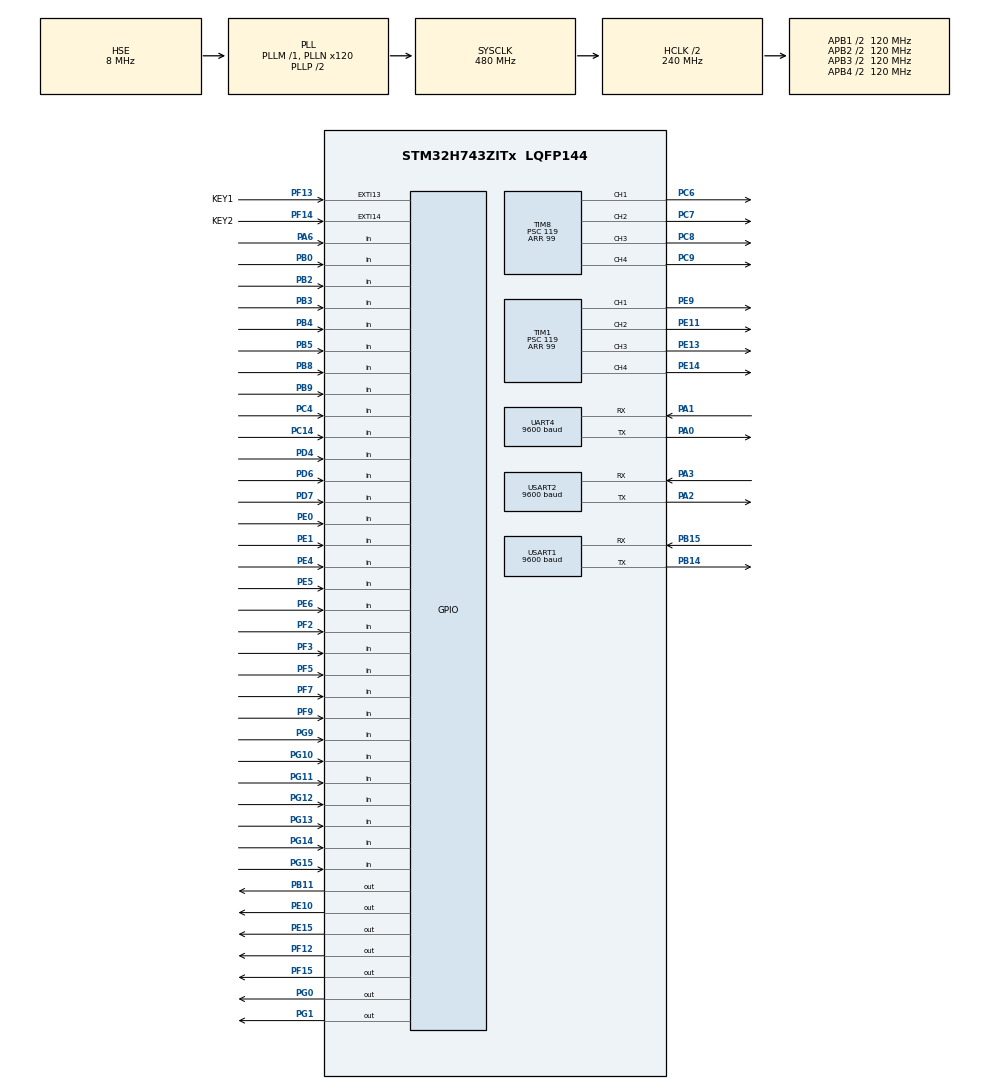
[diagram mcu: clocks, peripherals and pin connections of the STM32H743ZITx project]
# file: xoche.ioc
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Mcu.Family=STM32H7
Mcu.Name=STM32H743ZITx
Mcu.Package=LQFP144
NVIC.EXTI15_10_IRQn=true\:0\:0\:false\:false\:true\:true\:true
NVIC.PriorityGroup=NVIC_PRIORITYGROUP_4
PA0.Mode=Asynchronous
PA0.Signal=UART4_TX
PA1.Mode=Asynchronous
PA1.PinAttribute=Free
PA1.Signal=UART4_RX
PA2.Mode=Asynchronous
PA2.PinAttribute=Free
PA2.Signal=USART2_TX
PA3.Mode=Asynchronous
PA3.PinAttribute=Free
PA3.Signal=USART2_RX
PA6.Signal=GPIO_Input
PB0.Signal=GPIO_Input
PB11.GPIO_PuPd=GPIO_PULLDOWN
PB11.Signal=GPIO_Output
PB14.Mode=Asynchronous
PB14.Signal=USART1_TX
PB15.Mode=Asynchronous
PB15.Signal=USART1_RX
PB2.Signal=GPIO_Input
PB3\ (JTDO/TRACESWO).Signal=GPIO_Input
PB4\ (NJTRST).Signal=GPIO_Input
PB5.Signal=GPIO_Input
PB8.Signal=GPIO_Input
PB9.PinAttribute=Free
PB9.Signal=GPIO_Input
PC14-OSC32_IN\ (OSC32_IN).Signal=GPIO_Input
PC4.Signal=GPIO_Input
PC6.Signal=S_TIM8_CH1
PC7.Signal=S_TIM8_CH2
PC8.Signal=S_TIM8_CH3
PC9.Signal=S_TIM8_CH4
PD4.Signal=GPIO_Input
PD6.Signal=GPIO_Input
PD7.Signal=GPIO_Input
PE0.Signal=GPIO_Input
PE1.Signal=GPIO_Input
PE10.GPIO_PuPd=GPIO_PULLDOWN
PE10.Signal=GPIO_Output
PE11.PinAttribute=Free
PE11.Signal=S_TIM1_CH2
PE13.PinAttribute=Free
PE13.Signal=S_TIM1_CH3
PE14.PinAttribute=Free
PE14.Signal=S_TIM1_CH4
PE15.GPIO_PuPd=GPIO_PULLDOWN
PE15.Signal=GPIO_Output
PE4.Signal=GPIO_Input
PE5.Signal=GPIO_Input
PE6.Signal=GPIO_Input
PE9.PinAttribute=Free
PE9.Signal=S_TIM1_CH1
PF12.GPIO_PuPd=GPIO_PULLUP
PF12.PinAttribute=Free
PF12.PinState=GPIO_PIN_SET
PF12.Signal=GPIO_Output
PF13.GPIO_Label=KEY1
PF13.GPIO_ModeDefaultEXTI=GPIO_MODE_IT_RISING
PF13.GPIO_PuPd=GPIO_PULLDOWN
PF13.Signal=GPXTI13
PF14.GPIO_Label=KEY2
PF14.GPIO_ModeDefaultEXTI=GPIO_MODE_IT_RISING
PF14.GPIO_PuPd=GPIO_PULLDOWN
PF14.Signal=GPXTI14
PF15.GPIO_PuPd=GPIO_PULLUP
PF15.PinAttribute=Free
PF15.PinState=GPIO_PIN_SET
PF15.Signal=GPIO_Output
PF2.Signal=GPIO_Input
PF3.Signal=GPIO_Input
PF5.Signal=GPIO_Input
PF7.Signal=GPIO_Input
PF9.Signal=GPIO_Input
PG0.GPIO_PuPd=GPIO_PULLUP
PG0.PinAttribute=Free
PG0.PinState=GPIO_PIN_SET
PG0.Signal=GPIO_Output
PG1.GPIO_PuPd=GPIO_PULLUP
PG1.PinAttribute=Free
PG1.PinState=GPIO_PIN_SET
PG1.Signal=GPIO_Output
PG10.Signal=GPIO_Input
PG11.Signal=GPIO_Input
PG12.Signal=GPIO_Input
PG13.Signal=GPIO_Input
PG14.Signal=GPIO_Input
PG15.Signal=GPIO_Input
PG9.Signal=GPIO_Input
PH0-OSC_IN\ (PH0).Mode=HSE-External-Oscillator
PH0-OSC_IN\ (PH0).Signal=RCC_OSC_IN
PH1-OSC_OUT\ (PH1).Mode=HSE-External-Oscillator
PH1-OSC_OUT\ (PH1).Signal=RCC_OSC_OUT
ProjectManager.HeapSize=0x200
ProjectManager.StackSize=0x400
ProjectManager.TargetToolchain=STM32CubeIDE
RCC.ADCCLockSelection=RCC_ADCCLKSOURCE_CLKP
RCC.ADCFreq_Value=64000000
RCC.APB1Freq_Value=120000000
RCC.APB2Freq_Value=120000000
RCC.APB3Freq_Value=120000000
RCC.APB4Freq_Value=120000000
RCC.CortexFreq_Value=480000000
RCC.D1PPRE=RCC_APB3_DIV2
RCC.D2PPRE1=RCC_APB1_DIV2
RCC.D2PPRE2=RCC_APB2_DIV2
RCC.D3PPRE=RCC_APB4_DIV2
RCC.DIVM1=1
RCC.DIVN1=120
RCC.EnbaleCSS=true
RCC.HCLKFreq_Value=240000000
RCC.HPRE=RCC_HCLK_DIV2
RCC.HSE_VALUE=8000000
RCC.PLL1_VCI_Range-AdvancedSettings=RCC_PLL1VCIRANGE_3
RCC.PLLFRACN=0
RCC.PLLSourceVirtual=RCC_PLLSOURCE_HSE
RCC.SYSCLKFreq_VALUE=480000000
RCC.SYSCLKSource=RCC_SYSCLKSOURCE_PLLCLK
RCC.USBFreq_Value=480000000
SH.S_TIM1_CH1.0=TIM1_CH1,PWM Generation1 CH1
SH.S_TIM1_CH2.0=TIM1_CH2,PWM Generation2 CH2
SH.S_TIM1_CH3.0=TIM1_CH3,PWM Generation3 CH3
SH.S_TIM1_CH4.0=TIM1_CH4,PWM Generation4 CH4
SH.S_TIM8_CH1.0=TIM8_CH1,PWM Generation1 CH1
SH.S_TIM8_CH2.0=TIM8_CH2,PWM Generation2 CH2
SH.S_TIM8_CH3.0=TIM8_CH3,PWM Generation3 CH3
SH.S_TIM8_CH4.0=TIM8_CH4,PWM Generation4 CH4
TIM1.Channel-PWM\ Generation1\ CH1=TIM_CHANNEL_1
TIM1.Channel-PWM\ Generation2\ CH2=TIM_CHANNEL_2
TIM1.Channel-PWM\ Generation3\ CH3=TIM_CHANNEL_3
TIM1.Channel-PWM\ Generation4\ CH4=TIM_CHANNEL_4
TIM1.Period=99
TIM1.Prescaler=119
TIM8.Channel-PWM\ Generation1\ CH1=TIM_CHANNEL_1
TIM8.Channel-PWM\ Generation2\ CH2=TIM_CHANNEL_2
TIM8.Channel-PWM\ Generation3\ CH3=TIM_CHANNEL_3
TIM8.Channel-PWM\ Generation4\ CH4=TIM_CHANNEL_4
TIM8.Period=99
TIM8.Prescaler=119
UART4.BaudRate=9600
USART1.BaudRate=9600
USART1.VirtualMode-Asynchronous=VM_ASYNC
USART2.BaudRate=9600
USART2.VirtualMode-Asynchronous=VM_ASYNC
VP_TIM1_VS_ClockSourceINT.Mode=Internal
VP_TIM8_VS_ClockSourceINT.Mode=Internal
board=custom

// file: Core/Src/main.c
/* USER CODE BEGIN Header */
/**
  ******************************************************************************
  * @file           : main.c
  * @brief          : Main program body
  ******************************************************************************
  * @attention
  *
  * <h2><center>&copy; Copyright (c) 2021 STMicroelectronics.
  * All rights reserved.</center></h2>
  *
  * This software component is licensed by ST under BSD 3-Clause license,
  * the "License"; You may not use this file except in compliance with the
  * License. You may obtain a copy of the License at:
  *                        opensource.org/licenses/BSD-3-Clause
  *
  ******************************************************************************
  */
/* USER CODE END Header */
#include "main.h"

TIM_HandleTypeDef htim1;
TIM_HandleTypeDef htim8;

UART_HandleTypeDef huart4;
UART_HandleTypeDef huart1;
UART_HandleTypeDef huart2;

void SystemClock_Config(void);
static void MX_GPIO_Init(void);
static void MX_TIM1_Init(void);
static void MX_TIM8_Init(void);
static void MX_USART1_UART_Init(void);
static void MX_USART2_UART_Init(void);
static void MX_UART4_Init(void);
/* USER CODE BEGIN PFP */
int step=1;
int X=0;
int Y=0;
int Z=0;
int turn=0;
int Xflag=1;
int Yflag=1;
int Zflag=1;
int turnflag=1;
uint8_t YY[10];
uint8_t YY1[]={0XBA,0XEC,0XC9,0XAB};//R
uint8_t YY2[]={0XC0,0XB6,0XC9,0XAB};//B
uint8_t YY3[]={0XC2,0XCC,0XC9,0XAB};//G

uint8_t ADC_Value;
/* USER CODE END PFP */

/* USER CODE BEGIN 0 */
void adjust(int n)
{
	if(n==1)
	{
		__HAL_TIM_SET_COMPARE(&htim1,TIM_CHANNEL_1,20);
		__HAL_TIM_SET_COMPARE(&htim1,TIM_CHANNEL_2,0);

		__HAL_TIM_SET_COMPARE(&htim1,TIM_CHANNEL_4,23);
		__HAL_TIM_SET_COMPARE(&htim1,TIM_CHANNEL_3,0);

		__HAL_TIM_SET_COMPARE(&htim8,TIM_CHANNEL_2,10);//22
		__HAL_TIM_SET_COMPARE(&htim8,TIM_CHANNEL_1,0);

		__HAL_TIM_SET_COMPARE(&htim8,TIM_CHANNEL_3,10);
		__HAL_TIM_SET_COMPARE(&htim8,TIM_CHANNEL_4,0);
		HAL_Delay(300);
		  __HAL_TIM_SET_COMPARE(&htim1,TIM_CHANNEL_1,0);
		__HAL_TIM_SET_COMPARE(&htim1,TIM_CHANNEL_2,10);

		__HAL_TIM_SET_COMPARE(&htim1,TIM_CHANNEL_4,0);
		__HAL_TIM_SET_COMPARE(&htim1,TIM_CHANNEL_3,10);

		__HAL_TIM_SET_COMPARE(&htim8,TIM_CHANNEL_2,0);
		__HAL_TIM_SET_COMPARE(&htim8,TIM_CHANNEL_1,19);

		__HAL_TIM_SET_COMPARE(&htim8,TIM_CHANNEL_3,0);
		__HAL_TIM_SET_COMPARE(&htim8,TIM_CHANNEL_4,26);
		HAL_Delay(300);

	}
}
void move(int n)
{
	if(n==1)//直行
	{
		if(HAL_GPIO_ReadPin(GPIOG,GPIO_PIN_11)==1&&HAL_GPIO_ReadPin(GPIOG,GPIO_PIN_9)==1)
		{
			__HAL_TIM_SET_COMPARE(&htim1,TIM_CHANNEL_1,20);
			__HAL_TIM_SET_COMPARE(&htim1,TIM_CHANNEL_2,0);

			__HAL_TIM_SET_COMPARE(&htim1,TIM_CHANNEL_4,20);
			__HAL_TIM_SET_COMPARE(&htim1,TIM_CHANNEL_3,0);

			__HAL_TIM_SET_COMPARE(&htim8,TIM_CHANNEL_2,24);//22
			__HAL_TIM_SET_COMPARE(&htim8,TIM_CHANNEL_1,0);

			__HAL_TIM_SET_COMPARE(&htim8,TIM_CHANNEL_3,18);
			__HAL_TIM_SET_COMPARE(&htim8,TIM_CHANNEL_4,0);
		}
		if(HAL_GPIO_ReadPin(GPIOG,GPIO_PIN_11)==1&&HAL_GPIO_ReadPin(GPIOG,GPIO_PIN_9)==0)
		{
			__HAL_TIM_SET_COMPARE(&htim1,TIM_CHANNEL_1,20);
			__HAL_TIM_SET_COMPARE(&htim1,TIM_CHANNEL_2,0);

			__HAL_TIM_SET_COMPARE(&htim1,TIM_CHANNEL_4,20);
			__HAL_TIM_SET_COMPARE(&htim1,TIM_CHANNEL_3,0);

			__HAL_TIM_SET_COMPARE(&htim8,TIM_CHANNEL_2,40);
			__HAL_TIM_SET_COMPARE(&htim8,TIM_CHANNEL_1,0);

			__HAL_TIM_SET_COMPARE(&htim8,TIM_CHANNEL_3,18);
			__HAL_TIM_SET_COMPARE(&htim8,TIM_CHANNEL_4,0);
		}
		if(HAL_GPIO_ReadPin(GPIOG,GPIO_PIN_11)==0&&HAL_GPIO_ReadPin(GPIOG,GPIO_PIN_9)==1)
		{
			__HAL_TIM_SET_COMPARE(&htim1,TIM_CHANNEL_1,20);
			__HAL_TIM_SET_COMPARE(&htim1,TIM_CHANNEL_2,0);

			__HAL_TIM_SET_COMPARE(&htim1,TIM_CHANNEL_4,20);
			__HAL_TIM_SET_COMPARE(&htim1,TIM_CHANNEL_3,0);

			__HAL_TIM_SET_COMPARE(&htim8,TIM_CHANNEL_2,22);
			__HAL_TIM_SET_COMPARE(&htim8,TIM_CHANNEL_1,0);

			__HAL_TIM_SET_COMPARE(&htim8,TIM_CHANNEL_3,30);
			__HAL_TIM_SET_COMPARE(&htim8,TIM_CHANNEL_4,0);
		}
		if(HAL_GPIO_ReadPin(GPIOG,GPIO_PIN_11)==0&&HAL_GPIO_ReadPin(GPIOG,GPIO_PIN_9)==0)
		{
			__HAL_TIM_SET_COMPARE(&htim1,TIM_CHANNEL_1,0);
			__HAL_TIM_SET_COMPARE(&htim1,TIM_CHANNEL_2,0);

			__HAL_TIM_SET_COMPARE(&htim1,TIM_CHANNEL_4,0);
			__HAL_TIM_SET_COMPARE(&htim1,TIM_CHANNEL_3,0);

			__HAL_TIM_SET_COMPARE(&htim8,TIM_CHANNEL_2,0);
			__HAL_TIM_SET_COMPARE(&htim8,TIM_CHANNEL_1,0);

			__HAL_TIM_SET_COMPARE(&htim8,TIM_CHANNEL_3,0);
			__HAL_TIM_SET_COMPARE(&htim8,TIM_CHANNEL_4,0);
		}
	}
	if(n==2)//右行
	{
		if(HAL_GPIO_ReadPin(GPIOD,GPIO_PIN_6)==1&&HAL_GPIO_ReadPin(GPIOD,GPIO_PIN_4)==1)
		{
			__HAL_TIM_SET_COMPARE(&htim1,TIM_CHANNEL_1,0);
			__HAL_TIM_SET_COMPARE(&htim1,TIM_CHANNEL_2,21);

			__HAL_TIM_SET_COMPARE(&htim1,TIM_CHANNEL_4,25);
			__HAL_TIM_SET_COMPARE(&htim1,TIM_CHANNEL_3,0);

			__HAL_TIM_SET_COMPARE(&htim8,TIM_CHANNEL_2,0);
			__HAL_TIM_SET_COMPARE(&htim8,TIM_CHANNEL_1,19);

			__HAL_TIM_SET_COMPARE(&htim8,TIM_CHANNEL_3,20);
			__HAL_TIM_SET_COMPARE(&htim8,TIM_CHANNEL_4,0);
		}
		if(HAL_GPIO_ReadPin(GPIOD,GPIO_PIN_6)==0&&HAL_GPIO_ReadPin(GPIOD,GPIO_PIN_4)==1)
		{
			__HAL_TIM_SET_COMPARE(&htim1,TIM_CHANNEL_1,0);
			__HAL_TIM_SET_COMPARE(&htim1,TIM_CHANNEL_2,24);

			__HAL_TIM_SET_COMPARE(&htim1,TIM_CHANNEL_4,25);
			__HAL_TIM_SET_COMPARE(&htim1,TIM_CHANNEL_3,0);

			__HAL_TIM_SET_COMPARE(&htim8,TIM_CHANNEL_2,0);
			__HAL_TIM_SET_COMPARE(&htim8,TIM_CHANNEL_1,24);

			__HAL_TIM_SET_COMPARE(&htim8,TIM_CHANNEL_3,22);
			__HAL_TIM_SET_COMPARE(&htim8,TIM_CHANNEL_4,0);
		}
		if(HAL_GPIO_ReadPin(GPIOD,GPIO_PIN_6)==1&&HAL_GPIO_ReadPin(GPIOD,GPIO_PIN_4)==0)
		{
			__HAL_TIM_SET_COMPARE(&htim1,TIM_CHANNEL_1,0);
			__HAL_TIM_SET_COMPARE(&htim1,TIM_CHANNEL_2,21);//16

			__HAL_TIM_SET_COMPARE(&htim1,TIM_CHANNEL_4,28);//18
			__HAL_TIM_SET_COMPARE(&htim1,TIM_CHANNEL_3,0);

			__HAL_TIM_SET_COMPARE(&htim8,TIM_CHANNEL_2,0);
			__HAL_TIM_SET_COMPARE(&htim8,TIM_CHANNEL_1,19);

			__HAL_TIM_SET_COMPARE(&htim8,TIM_CHANNEL_3,24);
			__HAL_TIM_SET_COMPARE(&htim8,TIM_CHANNEL_4,0);
		}
		if(HAL_GPIO_ReadPin(GPIOD,GPIO_PIN_6)==0&&HAL_GPIO_ReadPin(GPIOD,GPIO_PIN_4)==0)
		{
			adjust(1);
		}
	}
	if(n==3)//旋转
	{
		__HAL_TIM_SET_COMPARE(&htim1,TIM_CHANNEL_1,20);
		__HAL_TIM_SET_COMPARE(&htim1,TIM_CHANNEL_2,0);

		__HAL_TIM_SET_COMPARE(&htim1,TIM_CHANNEL_4,0);
		__HAL_TIM_SET_COMPARE(&htim1,TIM_CHANNEL_3,20);

		__HAL_TIM_SET_COMPARE(&htim8,TIM_CHANNEL_2,0);
		__HAL_TIM_SET_COMPARE(&htim8,TIM_CHANNEL_1,20);

		__HAL_TIM_SET_COMPARE(&htim8,TIM_CHANNEL_3,20);
		__HAL_TIM_SET_COMPARE(&htim8,TIM_CHANNEL_4,0);
	}
	if(n==4)//刹车
	{
		__HAL_TIM_SET_COMPARE(&htim1,TIM_CHANNEL_1,0);
		__HAL_TIM_SET_COMPARE(&htim1,TIM_CHANNEL_2,0);

		__HAL_TIM_SET_COMPARE(&htim1,TIM_CHANNEL_4,0);
		__HAL_TIM_SET_COMPARE(&htim1,TIM_CHANNEL_3,0);

		__HAL_TIM_SET_COMPARE(&htim8,TIM_CHANNEL_2,0);
		__HAL_TIM_SET_COMPARE(&htim8,TIM_CHANNEL_1,0);

		__HAL_TIM_SET_COMPARE(&htim8,TIM_CHANNEL_3,0);
		__HAL_TIM_SET_COMPARE(&htim8,TIM_CHANNEL_4,0);
	}
	if(n==5)//倒车入库
	{
		__HAL_TIM_SET_COMPARE(&htim1,TIM_CHANNEL_1,0);
		__HAL_TIM_SET_COMPARE(&htim1,TIM_CHANNEL_2,0);

		__HAL_TIM_SET_COMPARE(&htim1,TIM_CHANNEL_4,0);
		__HAL_TIM_SET_COMPARE(&htim1,TIM_CHANNEL_3,25);

		__HAL_TIM_SET_COMPARE(&htim8,TIM_CHANNEL_1,0);
		__HAL_TIM_SET_COMPARE(&htim8,TIM_CHANNEL_2,0);

		__HAL_TIM_SET_COMPARE(&htim8,TIM_CHANNEL_3,0);
		__HAL_TIM_SET_COMPARE(&htim8,TIM_CHANNEL_4,30);
	}
}

void shuxian()
{
	if(step==1)
	{
		if(HAL_GPIO_ReadPin(GPIOD,GPIO_PIN_6)==0)
		{
			Xflag=1;
		}
		if(HAL_GPIO_ReadPin(GPIOD,GPIO_PIN_6)==1&&Xflag==1)
		{
			X+=1;
			Xflag=0;
		}
	}

	if(step==2)
	{
		if(HAL_GPIO_ReadPin(GPIOG,GPIO_PIN_9)==1&&Yflag==1)
		{
			Y+=1;
			Yflag=0;
		}
		if(HAL_GPIO_ReadPin(GPIOG,GPIO_PIN_9)==0)
		{
			Yflag=1;
		}
	}

	if(step==4)
	{
		if(HAL_GPIO_ReadPin(GPIOG,GPIO_PIN_9)==1&&Zflag==1)
		{
			Z+=1;
			Zflag=0;
		}
		if(HAL_GPIO_ReadPin(GPIOG,GPIO_PIN_9)==0)
		{
			Zflag=1;
		}
	}
}

void buzhou()
{
	if(step==1)
	{
		move(1);
		shuxian();
		if(X==3)
		{
			move(4);
			HAL_Delay(1000);
			step=2;
		}
	}
	if(step==2)
	{
		move(2);
		shuxian();
		if(Y==3)
		{
			move(4);
			HAL_Delay(1000);
			step=3;
		}
	}
	if(step==3)
	{
		move(4);
		HAL_Delay(2000);
		step=4;
	}
	if(step==4)
	{
		move(5);
		shuxian();
		if(Z==5)
		{
			move(4);
			step=5;
		}
	}
}

/* USER CODE END 0 */

int main(void)
{

  /* MCU Configuration--------------------------------------------------------*/

  /* Reset of all peripherals, Initializes the Flash interface and the Systick. */
  HAL_Init();

  /* Configure the system clock */
  SystemClock_Config();

  /* Initialize all configured peripherals */
  MX_GPIO_Init();
  MX_TIM1_Init();
  MX_TIM8_Init();
  MX_USART1_UART_Init();
  MX_USART2_UART_Init();
  MX_UART4_Init();
  /* USER CODE BEGIN 2 */
   HAL_TIM_PWM_Start(&htim1,TIM_CHANNEL_1);
   HAL_TIM_PWM_Start(&htim1,TIM_CHANNEL_2);
   HAL_TIM_PWM_Start(&htim1,TIM_CHANNEL_3);
   HAL_TIM_PWM_Start(&htim1,TIM_CHANNEL_4);
   HAL_TIM_PWM_Start(&htim8,TIM_CHANNEL_1);
   HAL_TIM_PWM_Start(&htim8,TIM_CHANNEL_2);
   HAL_TIM_PWM_Start(&htim8,TIM_CHANNEL_3);
   HAL_TIM_PWM_Start(&htim8,TIM_CHANNEL_4);
//   HAL_UART_Receive_IT(&huart1,TLY,1000);
     HAL_UART_Receive_IT(&huart1,YY,1000);
//   HAL_GPIO_WritePin(GPIOB,GPIO_PIN_11,0);
//   HAL_GPIO_WritePin(GPIOE,GPIO_PIN_10,0);
//   HAL_GPIO_WritePin(GPIOE,GPIO_PIN_15,0);
   //HAL_UART_Transmit(&huart1,TLYwork,sizeof(TLYwork),1000);
   //HAL_ADC_Start(&hadc2);     //启动ADC转换
   //HAL_ADC_PollForConversion(&hadc3, 50);   //等待转换完成
  /* USER CODE END 2 */

  /* Infinite loop */
  while (1)
  {

    /* USER CODE BEGIN 3 */

	    __HAL_TIM_SET_COMPARE(&htim1,TIM_CHANNEL_1,5);
		__HAL_TIM_SET_COMPARE(&htim1,TIM_CHANNEL_2,0);

		__HAL_TIM_SET_COMPARE(&htim1,TIM_CHANNEL_4,0);
		__HAL_TIM_SET_COMPARE(&htim1,TIM_CHANNEL_3,0);

		__HAL_TIM_SET_COMPARE(&htim8,TIM_CHANNEL_1,0);
		__HAL_TIM_SET_COMPARE(&htim8,TIM_CHANNEL_2,0);

		__HAL_TIM_SET_COMPARE(&htim8,TIM_CHANNEL_3,0);
		__HAL_TIM_SET_COMPARE(&htim8,TIM_CHANNEL_4,0);

	  //buzhou();
  }
  /* USER CODE END 3 */
}

void SystemClock_Config(void)
{
  RCC_OscInitTypeDef RCC_OscInitStruct = {0};
  RCC_ClkInitTypeDef RCC_ClkInitStruct = {0};
  RCC_PeriphCLKInitTypeDef PeriphClkInitStruct = {0};

  /** Supply configuration update enable
  */
  HAL_PWREx_ConfigSupply(PWR_LDO_SUPPLY);
  /** Configure the main internal regulator output voltage
  */
  __HAL_PWR_VOLTAGESCALING_CONFIG(PWR_REGULATOR_VOLTAGE_SCALE0);

  while(!__HAL_PWR_GET_FLAG(PWR_FLAG_VOSRDY)) {}
  /** Initializes the RCC Oscillators according to the specified parameters
  * in the RCC_OscInitTypeDef structure.
  */
  RCC_OscInitStruct.OscillatorType = RCC_OSCILLATORTYPE_HSE;
  RCC_OscInitStruct.HSEState = RCC_HSE_ON;
  RCC_OscInitStruct.PLL.PLLState = RCC_PLL_ON;
  RCC_OscInitStruct.PLL.PLLSource = RCC_PLLSOURCE_HSE;
  RCC_OscInitStruct.PLL.PLLM = 1;
  RCC_OscInitStruct.PLL.PLLN = 120;
  RCC_OscInitStruct.PLL.PLLP = 2;
  RCC_OscInitStruct.PLL.PLLQ = 2;
  RCC_OscInitStruct.PLL.PLLR = 2;
  RCC_OscInitStruct.PLL.PLLRGE = RCC_PLL1VCIRANGE_3;
  RCC_OscInitStruct.PLL.PLLVCOSEL = RCC_PLL1VCOWIDE;
  RCC_OscInitStruct.PLL.PLLFRACN = 0;
  if (HAL_RCC_OscConfig(&RCC_OscInitStruct) != HAL_OK)
  {
    Error_Handler();
  }
  /** Initializes the CPU, AHB and APB buses clocks
  */
  RCC_ClkInitStruct.ClockType = RCC_CLOCKTYPE_HCLK|RCC_CLOCKTYPE_SYSCLK
                              |RCC_CLOCKTYPE_PCLK1|RCC_CLOCKTYPE_PCLK2
                              |RCC_CLOCKTYPE_D3PCLK1|RCC_CLOCKTYPE_D1PCLK1;
  RCC_ClkInitStruct.SYSCLKSource = RCC_SYSCLKSOURCE_PLLCLK;
  RCC_ClkInitStruct.SYSCLKDivider = RCC_SYSCLK_DIV1;
  RCC_ClkInitStruct.AHBCLKDivider = RCC_HCLK_DIV2;
  RCC_ClkInitStruct.APB3CLKDivider = RCC_APB3_DIV2;
  RCC_ClkInitStruct.APB1CLKDivider = RCC_APB1_DIV2;
  RCC_ClkInitStruct.APB2CLKDivider = RCC_APB2_DIV2;
  RCC_ClkInitStruct.APB4CLKDivider = RCC_APB4_DIV2;

  if (HAL_RCC_ClockConfig(&RCC_ClkInitStruct, FLASH_LATENCY_4) != HAL_OK)
  {
    Error_Handler();
  }
  PeriphClkInitStruct.PeriphClockSelection = RCC_PERIPHCLK_USART2|RCC_PERIPHCLK_UART4
                              |RCC_PERIPHCLK_USART1;
  PeriphClkInitStruct.Usart234578ClockSelection = RCC_USART234578CLKSOURCE_D2PCLK1;
  PeriphClkInitStruct.Usart16ClockSelection = RCC_USART16CLKSOURCE_D2PCLK2;
  if (HAL_RCCEx_PeriphCLKConfig(&PeriphClkInitStruct) != HAL_OK)
  {
    Error_Handler();
  }
  /** Enables the Clock Security System
  */
  HAL_RCC_EnableCSS();
}

static void MX_TIM1_Init(void)
{

  TIM_ClockConfigTypeDef sClockSourceConfig = {0};
  TIM_MasterConfigTypeDef sMasterConfig = {0};
  TIM_OC_InitTypeDef sConfigOC = {0};
  TIM_BreakDeadTimeConfigTypeDef sBreakDeadTimeConfig = {0};

  htim1.Instance = TIM1;
  htim1.Init.Prescaler = 119;
  htim1.Init.CounterMode = TIM_COUNTERMODE_UP;
  htim1.Init.Period = 99;
  htim1.Init.ClockDivision = TIM_CLOCKDIVISION_DIV1;
  htim1.Init.RepetitionCounter = 0;
  htim1.Init.AutoReloadPreload = TIM_AUTORELOAD_PRELOAD_DISABLE;
  if (HAL_TIM_Base_Init(&htim1) != HAL_OK)
  {
    Error_Handler();
  }
  sClockSourceConfig.ClockSource = TIM_CLOCKSOURCE_INTERNAL;
  if (HAL_TIM_ConfigClockSource(&htim1, &sClockSourceConfig) != HAL_OK)
  {
    Error_Handler();
  }
  if (HAL_TIM_PWM_Init(&htim1) != HAL_OK)
  {
    Error_Handler();
  }
  sMasterConfig.MasterOutputTrigger = TIM_TRGO_RESET;
  sMasterConfig.MasterOutputTrigger2 = TIM_TRGO2_RESET;
  sMasterConfig.MasterSlaveMode = TIM_MASTERSLAVEMODE_DISABLE;
  if (HAL_TIMEx_MasterConfigSynchronization(&htim1, &sMasterConfig) != HAL_OK)
  {
    Error_Handler();
  }
  sConfigOC.OCMode = TIM_OCMODE_PWM1;
  sConfigOC.Pulse = 0;
  sConfigOC.OCPolarity = TIM_OCPOLARITY_HIGH;
  sConfigOC.OCNPolarity = TIM_OCNPOLARITY_HIGH;
  sConfigOC.OCFastMode = TIM_OCFAST_DISABLE;
  sConfigOC.OCIdleState = TIM_OCIDLESTATE_RESET;
  sConfigOC.OCNIdleState = TIM_OCNIDLESTATE_RESET;
  if (HAL_TIM_PWM_ConfigChannel(&htim1, &sConfigOC, TIM_CHANNEL_1) != HAL_OK)
  {
    Error_Handler();
  }
  if (HAL_TIM_PWM_ConfigChannel(&htim1, &sConfigOC, TIM_CHANNEL_2) != HAL_OK)
  {
    Error_Handler();
  }
  if (HAL_TIM_PWM_ConfigChannel(&htim1, &sConfigOC, TIM_CHANNEL_3) != HAL_OK)
  {
    Error_Handler();
  }
  if (HAL_TIM_PWM_ConfigChannel(&htim1, &sConfigOC, TIM_CHANNEL_4) != HAL_OK)
  {
    Error_Handler();
  }
  sBreakDeadTimeConfig.OffStateRunMode = TIM_OSSR_DISABLE;
  sBreakDeadTimeConfig.OffStateIDLEMode = TIM_OSSI_DISABLE;
  sBreakDeadTimeConfig.LockLevel = TIM_LOCKLEVEL_OFF;
  sBreakDeadTimeConfig.DeadTime = 0;
  sBreakDeadTimeConfig.BreakState = TIM_BREAK_DISABLE;
  sBreakDeadTimeConfig.BreakPolarity = TIM_BREAKPOLARITY_HIGH;
  sBreakDeadTimeConfig.BreakFilter = 0;
  sBreakDeadTimeConfig.Break2State = TIM_BREAK2_DISABLE;
  sBreakDeadTimeConfig.Break2Polarity = TIM_BREAK2POLARITY_HIGH;
  sBreakDeadTimeConfig.Break2Filter = 0;
  sBreakDeadTimeConfig.AutomaticOutput = TIM_AUTOMATICOUTPUT_DISABLE;
  if (HAL_TIMEx_ConfigBreakDeadTime(&htim1, &sBreakDeadTimeConfig) != HAL_OK)
  {
    Error_Handler();
  }
  HAL_TIM_MspPostInit(&htim1);

}

static void MX_TIM8_Init(void)
{

  TIM_ClockConfigTypeDef sClockSourceConfig = {0};
  TIM_MasterConfigTypeDef sMasterConfig = {0};
  TIM_OC_InitTypeDef sConfigOC = {0};
  TIM_BreakDeadTimeConfigTypeDef sBreakDeadTimeConfig = {0};

  htim8.Instance = TIM8;
  htim8.Init.Prescaler = 119;
  htim8.Init.CounterMode = TIM_COUNTERMODE_UP;
  htim8.Init.Period = 99;
  htim8.Init.ClockDivision = TIM_CLOCKDIVISION_DIV1;
  htim8.Init.RepetitionCounter = 0;
  htim8.Init.AutoReloadPreload = TIM_AUTORELOAD_PRELOAD_DISABLE;
  if (HAL_TIM_Base_Init(&htim8) != HAL_OK)
  {
    Error_Handler();
  }
  sClockSourceConfig.ClockSource = TIM_CLOCKSOURCE_INTERNAL;
  if (HAL_TIM_ConfigClockSource(&htim8, &sClockSourceConfig) != HAL_OK)
  {
    Error_Handler();
  }
  if (HAL_TIM_PWM_Init(&htim8) != HAL_OK)
  {
    Error_Handler();
  }
  sMasterConfig.MasterOutputTrigger = TIM_TRGO_RESET;
  sMasterConfig.MasterOutputTrigger2 = TIM_TRGO2_RESET;
  sMasterConfig.MasterSlaveMode = TIM_MASTERSLAVEMODE_DISABLE;
  if (HAL_TIMEx_MasterConfigSynchronization(&htim8, &sMasterConfig) != HAL_OK)
  {
    Error_Handler();
  }
  sConfigOC.OCMode = TIM_OCMODE_PWM1;
  sConfigOC.Pulse = 0;
  sConfigOC.OCPolarity = TIM_OCPOLARITY_HIGH;
  sConfigOC.OCNPolarity = TIM_OCNPOLARITY_HIGH;
  sConfigOC.OCFastMode = TIM_OCFAST_DISABLE;
  sConfigOC.OCIdleState = TIM_OCIDLESTATE_RESET;
  sConfigOC.OCNIdleState = TIM_OCNIDLESTATE_RESET;
  if (HAL_TIM_PWM_ConfigChannel(&htim8, &sConfigOC, TIM_CHANNEL_1) != HAL_OK)
  {
    Error_Handler();
  }
  if (HAL_TIM_PWM_ConfigChannel(&htim8, &sConfigOC, TIM_CHANNEL_2) != HAL_OK)
  {
    Error_Handler();
  }
  if (HAL_TIM_PWM_ConfigChannel(&htim8, &sConfigOC, TIM_CHANNEL_3) != HAL_OK)
  {
    Error_Handler();
  }
  if (HAL_TIM_PWM_ConfigChannel(&htim8, &sConfigOC, TIM_CHANNEL_4) != HAL_OK)
  {
    Error_Handler();
  }
  sBreakDeadTimeConfig.OffStateRunMode = TIM_OSSR_DISABLE;
  sBreakDeadTimeConfig.OffStateIDLEMode = TIM_OSSI_DISABLE;
  sBreakDeadTimeConfig.LockLevel = TIM_LOCKLEVEL_OFF;
  sBreakDeadTimeConfig.DeadTime = 0;
  sBreakDeadTimeConfig.BreakState = TIM_BREAK_DISABLE;
  sBreakDeadTimeConfig.BreakPolarity = TIM_BREAKPOLARITY_HIGH;
  sBreakDeadTimeConfig.BreakFilter = 0;
  sBreakDeadTimeConfig.Break2State = TIM_BREAK2_DISABLE;
  sBreakDeadTimeConfig.Break2Polarity = TIM_BREAK2POLARITY_HIGH;
  sBreakDeadTimeConfig.Break2Filter = 0;
  sBreakDeadTimeConfig.AutomaticOutput = TIM_AUTOMATICOUTPUT_DISABLE;
  if (HAL_TIMEx_ConfigBreakDeadTime(&htim8, &sBreakDeadTimeConfig) != HAL_OK)
  {
    Error_Handler();
  }
  HAL_TIM_MspPostInit(&htim8);

}

static void MX_UART4_Init(void)
{

  huart4.Instance = UART4;
  huart4.Init.BaudRate = 9600;
  huart4.Init.WordLength = UART_WORDLENGTH_8B;
  huart4.Init.StopBits = UART_STOPBITS_1;
  huart4.Init.Parity = UART_PARITY_NONE;
  huart4.Init.Mode = UART_MODE_TX_RX;
  huart4.Init.HwFlowCtl = UART_HWCONTROL_NONE;
  huart4.Init.OverSampling = UART_OVERSAMPLING_16;
  huart4.Init.OneBitSampling = UART_ONE_BIT_SAMPLE_DISABLE;
  huart4.Init.ClockPrescaler = UART_PRESCALER_DIV1;
  huart4.AdvancedInit.AdvFeatureInit = UART_ADVFEATURE_NO_INIT;
  if (HAL_UART_Init(&huart4) != HAL_OK)
  {
    Error_Handler();
  }
  if (HAL_UARTEx_SetTxFifoThreshold(&huart4, UART_TXFIFO_THRESHOLD_1_8) != HAL_OK)
  {
    Error_Handler();
  }
  if (HAL_UARTEx_SetRxFifoThreshold(&huart4, UART_RXFIFO_THRESHOLD_1_8) != HAL_OK)
  {
    Error_Handler();
  }
  if (HAL_UARTEx_DisableFifoMode(&huart4) != HAL_OK)
  {
    Error_Handler();
  }

}

static void MX_USART1_UART_Init(void)
{

  huart1.Instance = USART1;
  huart1.Init.BaudRate = 9600;
  huart1.Init.WordLength = UART_WORDLENGTH_8B;
  huart1.Init.StopBits = UART_STOPBITS_1;
  huart1.Init.Parity = UART_PARITY_NONE;
  huart1.Init.Mode = UART_MODE_TX_RX;
  huart1.Init.HwFlowCtl = UART_HWCONTROL_NONE;
  huart1.Init.OverSampling = UART_OVERSAMPLING_16;
  huart1.Init.OneBitSampling = UART_ONE_BIT_SAMPLE_DISABLE;
  huart1.Init.ClockPrescaler = UART_PRESCALER_DIV1;
  huart1.AdvancedInit.AdvFeatureInit = UART_ADVFEATURE_NO_INIT;
  if (HAL_UART_Init(&huart1) != HAL_OK)
  {
    Error_Handler();
  }
  if (HAL_UARTEx_SetTxFifoThreshold(&huart1, UART_TXFIFO_THRESHOLD_1_8) != HAL_OK)
  {
    Error_Handler();
  }
  if (HAL_UARTEx_SetRxFifoThreshold(&huart1, UART_RXFIFO_THRESHOLD_1_8) != HAL_OK)
  {
    Error_Handler();
  }
  if (HAL_UARTEx_DisableFifoMode(&huart1) != HAL_OK)
  {
    Error_Handler();
  }

}

static void MX_USART2_UART_Init(void)
{

  huart2.Instance = USART2;
  huart2.Init.BaudRate = 9600;
  huart2.Init.WordLength = UART_WORDLENGTH_8B;
  huart2.Init.StopBits = UART_STOPBITS_1;
  huart2.Init.Parity = UART_PARITY_NONE;
  huart2.Init.Mode = UART_MODE_TX_RX;
  huart2.Init.HwFlowCtl = UART_HWCONTROL_NONE;
  huart2.Init.OverSampling = UART_OVERSAMPLING_16;
  huart2.Init.OneBitSampling = UART_ONE_BIT_SAMPLE_DISABLE;
  huart2.Init.ClockPrescaler = UART_PRESCALER_DIV1;
  huart2.AdvancedInit.AdvFeatureInit = UART_ADVFEATURE_NO_INIT;
  if (HAL_UART_Init(&huart2) != HAL_OK)
  {
    Error_Handler();
  }
  if (HAL_UARTEx_SetTxFifoThreshold(&huart2, UART_TXFIFO_THRESHOLD_1_8) != HAL_OK)
  {
    Error_Handler();
  }
  if (HAL_UARTEx_SetRxFifoThreshold(&huart2, UART_RXFIFO_THRESHOLD_1_8) != HAL_OK)
  {
    Error_Handler();
  }
  if (HAL_UARTEx_DisableFifoMode(&huart2) != HAL_OK)
  {
    Error_Handler();
  }

}

static void MX_GPIO_Init(void)
{
  GPIO_InitTypeDef GPIO_InitStruct = {0};

  /* GPIO Ports Clock Enable */
  __HAL_RCC_GPIOE_CLK_ENABLE();
  __HAL_RCC_GPIOC_CLK_ENABLE();
  __HAL_RCC_GPIOF_CLK_ENABLE();
  __HAL_RCC_GPIOH_CLK_ENABLE();
  __HAL_RCC_GPIOA_CLK_ENABLE();
  __HAL_RCC_GPIOB_CLK_ENABLE();
  __HAL_RCC_GPIOG_CLK_ENABLE();
  __HAL_RCC_GPIOD_CLK_ENABLE();

  /*Configure GPIO pin Output Level */
  HAL_GPIO_WritePin(GPIOF, GPIO_PIN_12|GPIO_PIN_15, GPIO_PIN_SET);

  /*Configure GPIO pin Output Level */
  HAL_GPIO_WritePin(GPIOG, GPIO_PIN_0|GPIO_PIN_1, GPIO_PIN_SET);

  /*Configure GPIO pin Output Level */
  HAL_GPIO_WritePin(GPIOE, GPIO_PIN_10|GPIO_PIN_15, GPIO_PIN_RESET);

  /*Configure GPIO pin Output Level */
  HAL_GPIO_WritePin(GPIOB, GPIO_PIN_11, GPIO_PIN_RESET);

  /*Configure GPIO pins : PE4 PE5 PE6 PE0
                           PE1 */
  GPIO_InitStruct.Pin = GPIO_PIN_4|GPIO_PIN_5|GPIO_PIN_6|GPIO_PIN_0
                          |GPIO_PIN_1;
  GPIO_InitStruct.Mode = GPIO_MODE_INPUT;
  GPIO_InitStruct.Pull = GPIO_NOPULL;
  HAL_GPIO_Init(GPIOE, &GPIO_InitStruct);

  /*Configure GPIO pins : PC14 PC4 */
  GPIO_InitStruct.Pin = GPIO_PIN_14|GPIO_PIN_4;
  GPIO_InitStruct.Mode = GPIO_MODE_INPUT;
  GPIO_InitStruct.Pull = GPIO_NOPULL;
  HAL_GPIO_Init(GPIOC, &GPIO_InitStruct);

  /*Configure GPIO pins : PF2 PF3 PF5 PF7
                           PF9 */
  GPIO_InitStruct.Pin = GPIO_PIN_2|GPIO_PIN_3|GPIO_PIN_5|GPIO_PIN_7
                          |GPIO_PIN_9;
  GPIO_InitStruct.Mode = GPIO_MODE_INPUT;
  GPIO_InitStruct.Pull = GPIO_NOPULL;
  HAL_GPIO_Init(GPIOF, &GPIO_InitStruct);

  /*Configure GPIO pin : PA6 */
  GPIO_InitStruct.Pin = GPIO_PIN_6;
  GPIO_InitStruct.Mode = GPIO_MODE_INPUT;
  GPIO_InitStruct.Pull = GPIO_NOPULL;
  HAL_GPIO_Init(GPIOA, &GPIO_InitStruct);

  /*Configure GPIO pins : PB0 PB2 PB3 PB4
                           PB5 PB8 PB9 */
  GPIO_InitStruct.Pin = GPIO_PIN_0|GPIO_PIN_2|GPIO_PIN_3|GPIO_PIN_4
                          |GPIO_PIN_5|GPIO_PIN_8|GPIO_PIN_9;
  GPIO_InitStruct.Mode = GPIO_MODE_INPUT;
  GPIO_InitStruct.Pull = GPIO_NOPULL;
  HAL_GPIO_Init(GPIOB, &GPIO_InitStruct);

  /*Configure GPIO pins : PF12 PF15 */
  GPIO_InitStruct.Pin = GPIO_PIN_12|GPIO_PIN_15;
  GPIO_InitStruct.Mode = GPIO_MODE_OUTPUT_PP;
  GPIO_InitStruct.Pull = GPIO_PULLUP;
  GPIO_InitStruct.Speed = GPIO_SPEED_FREQ_LOW;
  HAL_GPIO_Init(GPIOF, &GPIO_InitStruct);

  /*Configure GPIO pins : KEY1_Pin KEY2_Pin */
  GPIO_InitStruct.Pin = KEY1_Pin|KEY2_Pin;
  GPIO_InitStruct.Mode = GPIO_MODE_IT_RISING;
  GPIO_InitStruct.Pull = GPIO_PULLDOWN;
  HAL_GPIO_Init(GPIOF, &GPIO_InitStruct);

  /*Configure GPIO pins : PG0 PG1 */
  GPIO_InitStruct.Pin = GPIO_PIN_0|GPIO_PIN_1;
  GPIO_InitStruct.Mode = GPIO_MODE_OUTPUT_PP;
  GPIO_InitStruct.Pull = GPIO_PULLUP;
  GPIO_InitStruct.Speed = GPIO_SPEED_FREQ_LOW;
  HAL_GPIO_Init(GPIOG, &GPIO_InitStruct);

  /*Configure GPIO pins : PE10 PE15 */
  GPIO_InitStruct.Pin = GPIO_PIN_10|GPIO_PIN_15;
  GPIO_InitStruct.Mode = GPIO_MODE_OUTPUT_PP;
  GPIO_InitStruct.Pull = GPIO_PULLDOWN;
  GPIO_InitStruct.Speed = GPIO_SPEED_FREQ_LOW;
  HAL_GPIO_Init(GPIOE, &GPIO_InitStruct);

  /*Configure GPIO pin : PB11 */
  GPIO_InitStruct.Pin = GPIO_PIN_11;
  GPIO_InitStruct.Mode = GPIO_MODE_OUTPUT_PP;
  GPIO_InitStruct.Pull = GPIO_PULLDOWN;
  GPIO_InitStruct.Speed = GPIO_SPEED_FREQ_LOW;
  HAL_GPIO_Init(GPIOB, &GPIO_InitStruct);

  /*Configure GPIO pins : PD4 PD6 PD7 */
  GPIO_InitStruct.Pin = GPIO_PIN_4|GPIO_PIN_6|GPIO_PIN_7;
  GPIO_InitStruct.Mode = GPIO_MODE_INPUT;
  GPIO_InitStruct.Pull = GPIO_NOPULL;
  HAL_GPIO_Init(GPIOD, &GPIO_InitStruct);

  /*Configure GPIO pins : PG9 PG10 PG11 PG12
                           PG13 PG14 PG15 */
  GPIO_InitStruct.Pin = GPIO_PIN_9|GPIO_PIN_10|GPIO_PIN_11|GPIO_PIN_12
                          |GPIO_PIN_13|GPIO_PIN_14|GPIO_PIN_15;
  GPIO_InitStruct.Mode = GPIO_MODE_INPUT;
  GPIO_InitStruct.Pull = GPIO_NOPULL;
  HAL_GPIO_Init(GPIOG, &GPIO_InitStruct);

  /* EXTI interrupt init*/
  HAL_NVIC_SetPriority(EXTI15_10_IRQn, 0, 0);
  HAL_NVIC_EnableIRQ(EXTI15_10_IRQn);

}

void Error_Handler(void)
{
  __disable_irq();
  while (1)
  {
  }
}

/************************ (C) COPYRIGHT STMicroelectronics *****END OF FILE****/
